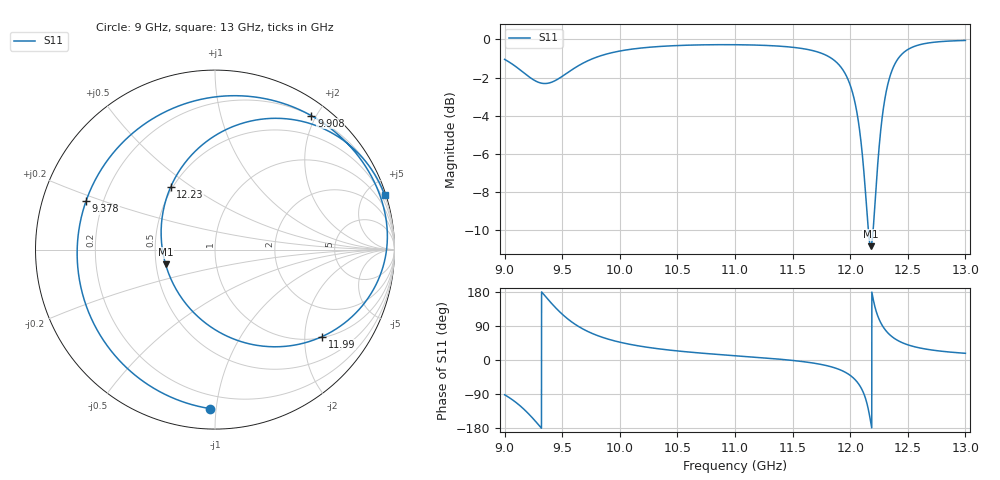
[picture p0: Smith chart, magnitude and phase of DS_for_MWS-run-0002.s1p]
! TOUCHSTONE file generated by CST DESIGN STUDIO
! Date and time: Tue Feb  4 17:24:04 2025
! Project name: C:\Work\MatlabApps\UnitCellOptimizationMatlab\CST\unitcell.cst
! Tree item: Tasks\Sweep1\SPara1\S-Parameters
! Header version: 2024
! Port assignment regex: !\s*Touchstone port\s*([0-9]+)\s*=\s*(CST MWS port|CST DES external port|CST DES block port)\s*(.+)\s* \(\"(.*)\"\)(\s*mode\s*([0-9]+))?.*
! Touchstone port assignment:
! Touchstone port 1 = CST DES external port 1 ("")
# GHz S MA R 50
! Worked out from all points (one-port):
!   4001 points, 9 GHz to 13 GHz, reference 50 ohm
!   lowest |S11| = -10.8 dB at 12.18 GHz (marker M1), VSWR 1.81, Z = 28.1 - j4.97 ohm
!   |S11| at or under -10 dB: 12.15749 GHz to 12.19887 GHz (41.37 MHz wide, 0.34 % of centre)
!   S11 on the Smith chart (normalised r, x): 9 GHz: 0.12, -0.96; 9.378 GHz: 0.14, +0.18; 9.908 GHz: 0.20, +1.94; 11.99 GHz: 1.03, -2.44; 12.23 GHz: 0.49, +0.42; 13 GHz: 0.14, +6.43
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9  0.8864 -91.7
9.091  0.8513 -110.2
9.173  0.8147 -131.5
9.281  0.7748 -166.2
9.378  0.7677 159.5
9.5  0.8001 120.9
9.656  0.8583 85.9
9.776  0.893 68.1
9.908  0.9192 54.2
10  0.9321 47.0
10.5  0.9635 23.9
11  0.9683 11.3
11.5  0.9534 -1.1
11.822  0.8982 -16.8
11.919  0.8463 -26.7
11.993  0.7692 -39.0
12  0.759 -40.5
12.059  0.6418 -57.5
12.102  0.511 -77.8
12.139  0.3746 -107.4
12.178  0.2873 -163.6
12.229  0.4281 125.2
12.274  0.6115 93.4
12.323  0.7547 72.8
12.403  0.8784 53.2
12.5  0.9406 40.1
12.686  0.9793 27.4
13  0.9935 17.7
